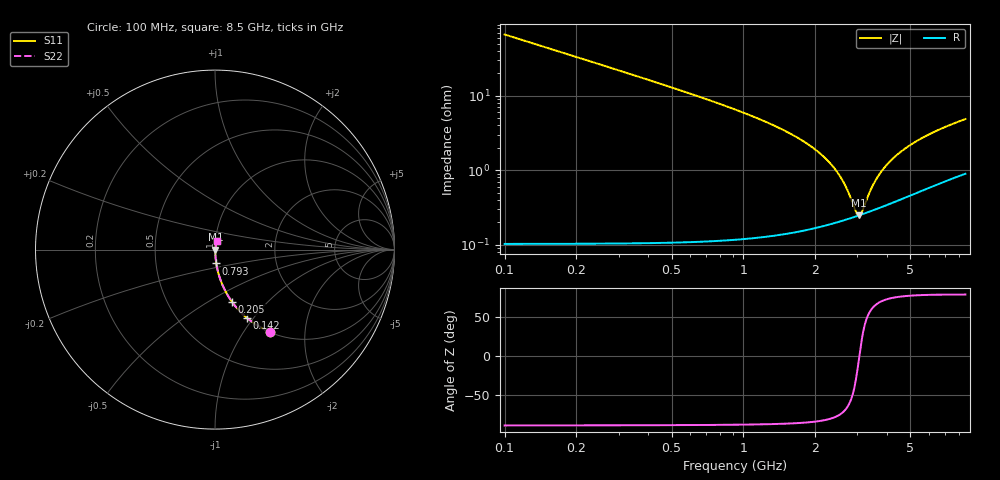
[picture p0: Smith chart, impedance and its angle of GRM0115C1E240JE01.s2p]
!Murata Part Number: GRM0115C1E240JE01
!These Parameters are Measured in Series Mode Connection
!Data Generated on Mar 30, 2021
!  o--ll--o
!Port1  Port2
!  o------o
!Operation Temp=25[degC], DC Bias Voltage=0[V]
!Freq. Start=100[MHz] Stop=9[GHz] 401[Steps]
# Hz S RI R 50
!Freq.(Hz) S11(Real) S11(Imag) S21(Real) S21(Imag) S12(Real) S12(Imag) S22(Real) S22(Imag)
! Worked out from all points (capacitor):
!   401 points, 100 MHz to 8.5 GHz, reference 50 ohm
!   read as one part in series: C = 24 pF near 142 MHz
!   lowest |Z| = 248 mohm at 3.04 GHz (marker M1)
!   series resonance near 3.058 GHz, so ESL is about 110 pH
!   S11 on the Smith chart (normalised r, x): 100 MHz: 1.00, -1.32; 142 MHz: 1.00, -0.93; 205 MHz: 1.00, -0.64; 793 MHz: 1.00, -0.16; 8.5 GHz: 1.02, +0.10
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1e8  0.3053 -0.4597  0.6947 0.4597  0.6947 0.4597  0.3053 -0.4597
1.42e8  0.1789 -0.3822  0.8211 0.3822  0.8211 0.3822  0.1789 -0.3822
2.05e8  0.0947 -0.2912  0.9053 0.2912  0.9053 0.2912  0.0947 -0.2912
3.1e8  0.0438 -0.2022  0.9562 0.2022  0.9562 0.2022  0.0438 -0.2022
4.36e8  0.0227 -0.1454  0.9773 0.1454  0.9773 0.1454  0.0227 -0.1454
7.93e8  0.00714 -0.0773  0.9929 0.0773  0.9929 0.0773  0.00714 -0.0773
1.507e9  0.00249 -0.033  0.9975 0.033  0.9975 0.033  0.00249 -0.033
2.032e9  0.00201 -0.018  0.998 0.018  0.998 0.018  0.00201 -0.018
2.389e9  0.00205 -0.0107  0.998 0.0107  0.998 0.0107  0.00205 -0.0107
2.662e9  0.00218 -0.00593  0.9978 0.00593  0.9978 0.00593  0.00218 -0.00593
2.914e9  0.00235 -0.00204  0.9976 0.00204  0.9976 0.00204  0.00235 -0.00204
2.977e9  0.00241 -0.00113  0.9976 0.00113  0.9976 0.00113  0.00241 -0.00113
3.04e9  0.00246 -0.000244  0.9975 0.000244  0.9975 0.000244  0.00246 -0.000244
3.124e9  0.00254 0.000913  0.9975 -0.000913  0.9975 -0.000913  0.00254 0.000913
3.397e9  0.00281 0.00446  0.9972 -0.00446  0.9972 -0.00446  0.00281 0.00446
3.628e9  0.00307 0.00724  0.9969 -0.00724  0.9969 -0.00724  0.00307 0.00724
3.922e9  0.00343 0.0106  0.9966 -0.0106  0.9966 -0.0106  0.00343 0.0106
4.3e9  0.00394 0.0145  0.9961 -0.0145  0.9961 -0.0145  0.00394 0.0145
4.909e9  0.00485 0.0203  0.9952 -0.0203  0.9952 -0.0203  0.00485 0.0203
5.707e9  0.00614 0.0271  0.9939 -0.0271  0.9939 -0.0271  0.00614 0.0271
7.114e9  0.0086 0.0376  0.9914 -0.0376  0.9914 -0.0376  0.0086 0.0376
8.5e9  0.0111 0.0467  0.9889 -0.0467  0.9889 -0.0467  0.0111 0.0467
